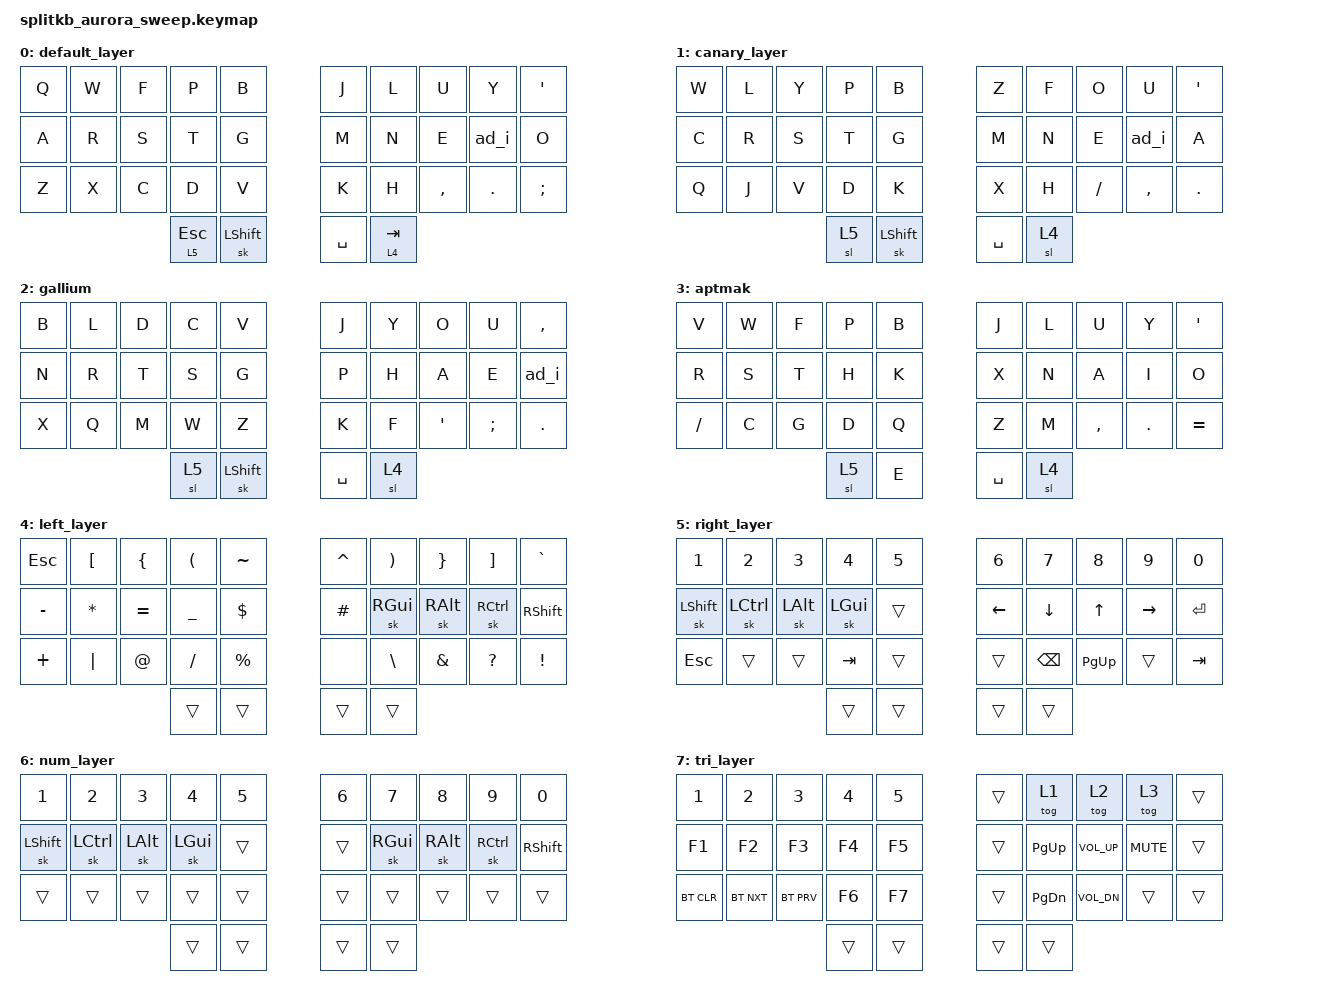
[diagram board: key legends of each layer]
/**
 * Copyright (c) 2022 The ZMK Contributors
 *
 * SPDX-License-Identifier: MIT
 */

#include <behaviors.dtsi>
#include <dt-bindings/zmk/bt.h>
#include <dt-bindings/zmk/keys.h>

&mt {
    //  flavor = "tap-preferred";
    // tapping-term-ms = <200>;
};

&sk {
    quick-release;
    release-after-ms = <700>;
};

/ {
    behaviors {
        ad_i: adaptive_i {
            compatible = "zmk,behavior-antecedent-morph";
            label = "ADAPTIVE_I";
            #binding-cells = <0>;
            defaults = <&kp I>;
            bindings = <&kp J>;
            antecedents = <I>;
            max-delay-ms = <250>;
        };

        hmrl: hmrl {
            compatible = "zmk,behavior-hold-tap";
            label = "HMRL";
            bindings = <&kp>, <&kp>;

            #binding-cells = <2>;
            tapping-term-ms = <280>;
            require-prior-idle-ms = <200>;
            flavor = "balanced";
            hold-trigger-key-positions = <5 6 7 8 15 16 17 18 25 26 27 28 32 33 8 9 18 19 28 29 30 31>;
        };

        hmrr: hmrr {
            compatible = "zmk,behavior-hold-tap";
            label = "HMRR";
            bindings = <&kp>, <&kp>;

            #binding-cells = <2>;
            tapping-term-ms = <280>;
            require-prior-idle-ms = <200>;
            flavor = "balanced";
            hold-trigger-key-positions = <0 1 2 3 4 10 11 12 13 14 20 21 22 23 24 31 30 32 33>;
        };

        hmrr_adi: hmrr_adi {
            compatible = "zmk,behavior-hold-tap";
            label = "HMRR_ADI";
            bindings = <&kp>, <&ad_i>;

            #binding-cells = <2>;
            tapping-term-ms = <280>;
            require-prior-idle-ms = <200>;
            flavor = "balanced";
            hold-trigger-key-positions = <0 1 2 3 4 10 11 12 13 14 20 21 22 23 24 31 30 32 33>;
        };

        lth: lth {
            compatible = "zmk,behavior-hold-tap";
            label = "LTH";
            bindings = <&mo>, <&kp>;

            #binding-cells = <2>;
            tapping-term-ms = <300>;
        };
    };

    combos {
        compatible = "zmk,combos";

        combo_layer_num {
            timeout-ms = <50>;
            key-positions = <30 33>;
            bindings = <&sl 6>;
            slow-release;
        };

        command {
            bindings = <&kp COLON>;
            key-positions = <28 27>;
            timeout-ms = <60>;
        };

        search {
            bindings = <&kp SLASH>;
            key-positions = <21 22>;
            timeout-ms = <60>;
        };

        escape {
            bindings = <&kp ESCAPE>;
            key-positions = <1 2>;
            timeout-ms = <60>;
        };

        return {
            bindings = <&kp RETURN>;
            key-positions = <8 7>;
            timeout-ms = <60>;
        };

        underscore {
            bindings = <&kp UNDERSCORE>;
            key-positions = <13 3>;
            timeout-ms = <60>;
        };

        minus {
            bindings = <&kp MINUS>;
            key-positions = <12 2>;
            timeout-ms = <60>;
        };

        star {
            bindings = <&kp STAR>;
            key-positions = <17 7>;
            timeout-ms = <60>;
        };

        dollar {
            bindings = <&kp DOLLAR>;
            key-positions = <16 6>;
            timeout-ms = <60>;
        };
    };

    keymap {
        compatible = "zmk,keymap";

        default_layer {
            bindings = <
&kp Q          &kp W      &kp F  &kp P  &kp B    &kp J  &kp L  &kp U      &kp Y      &kp SQT
&kp A          &kp R      &kp S  &kp T  &kp G    &kp M  &kp N  &kp E      &ad_i      &kp O
&kp Z          &kp X      &kp C  &kp D  &kp V    &kp K  &kp H  &kp COMMA  &kp DOT    &kp SEMI
&lth 5 ESCAPE  &sk LSHFT                                                  &kp SPACE  &lth 4 TAB
            >;
        };

        canary_layer {
            bindings = <
&kp W  &kp L      &kp Y  &kp P  &kp B    &kp Z  &kp F  &kp O     &kp U      &kp SQT
&kp C  &kp R      &kp S  &kp T  &kp G    &kp M  &kp N  &kp E     &ad_i      &kp A
&kp Q  &kp J      &kp V  &kp D  &kp K    &kp X  &kp H  &kp FSLH  &kp COMMA  &kp DOT
&sl 5  &sk LSHFT                                                 &kp SPACE  &sl 4
            >;
        };

        gallium {
            bindings = <
&kp B  &kp L      &kp D  &kp C  &kp V    &kp J  &kp Y  &kp O    &kp U      &kp COMMA
&kp N  &kp R      &kp T  &kp S  &kp G    &kp P  &kp H  &kp A    &kp E      &ad_i
&kp X  &kp Q      &kp M  &kp W  &kp Z    &kp K  &kp F  &kp SQT  &kp SEMI   &kp DOT
&sl 5  &sk LSHFT                                                &kp SPACE  &sl 4
            >;
        };

        aptmak {
            bindings = <
&kp V     &kp W  &kp F  &kp P  &kp B    &kp J  &kp L  &kp U      &kp Y      &kp SQT
&kp R     &kp S  &kp T  &kp H  &kp K    &kp X  &kp N  &kp A      &kp I      &kp O
&kp FSLH  &kp C  &kp G  &kp D  &kp Q    &kp Z  &kp M  &kp COMMA  &kp DOT    &kp EQUAL
&sl 5     &kp E                                                  &kp SPACE  &sl 4
            >;
        };

        left_layer {
            bindings = <
&kp ESCAPE  &kp LEFT_BRACKET  &kp LEFT_BRACE  &kp LEFT_PARENTHESIS  &kp TILDE      &kp CARET  &kp RIGHT_PARENTHESIS  &kp RIGHT_BRACE  &kp RIGHT_BRACKET  &kp GRAVE
&kp MINUS   &kp ASTERISK      &kp EQUAL       &kp UNDER             &kp DOLLAR     &kp HASH   &sk RGUI               &sk RIGHT_ALT    &sk RIGHT_CONTROL  &kp RIGHT_SHIFT
&kp PLUS    &kp PIPE          &kp AT_SIGN     &kp FSLH              &kp PERCENT    &none      &kp BSLH               &kp AMPS         &kp QUESTION       &kp EXCL
&trans      &trans                                                                                                                    &trans             &trans
            >;
        };

        right_layer {
            bindings = <
&kp N1      &kp N2     &kp N3    &kp N4    &kp N5    &kp N6    &kp N7    &kp N8     &kp N9     &kp N0
&sk LSHFT   &sk LCTRL  &sk LALT  &sk LGUI  &trans    &kp LEFT  &kp DOWN  &kp UP     &kp RIGHT  &kp RET
&kp ESCAPE  &trans     &trans    &kp TAB   &trans    &trans    &kp BSPC  &kp PG_UP  &trans     &kp TAB
&trans      &trans                                                                  &trans     &trans
            >;
        };

        num_layer {
            bindings = <
&kp N1     &kp N2     &kp N3    &kp N4    &kp N5    &kp N6  &kp N7    &kp N8         &kp N9             &kp N0
&sk LSHFT  &sk LCTRL  &sk LALT  &sk LGUI  &trans    &trans  &sk RGUI  &sk RIGHT_ALT  &sk RIGHT_CONTROL  &kp RIGHT_SHIFT
&trans     &trans     &trans    &trans    &trans    &trans  &trans    &trans         &trans             &trans
&trans     &trans                                                                    &trans             &trans
            >;
        };

        tri_layer {
            bindings = <
&kp NUM_1   &kp NUM_2   &kp NUM_3   &kp NUM_4  &kp NUM_5    &trans  &tog 1     &tog 2        &tog 3      &trans
&kp F1      &kp F2      &kp F3      &kp F4     &kp F5       &trans  &kp PG_UP  &kp K_VOL_UP  &kp K_MUTE  &trans
&bt BT_CLR  &bt BT_NXT  &bt BT_PRV  &kp F6     &kp F7       &trans  &kp PG_DN  &kp K_VOL_DN  &trans      &trans
&trans      &trans                                                                           &trans      &trans
            >;
        };
    };

    conditional_layers {
        compatible = "zmk,conditional-layers";

        menu {
            if-layers = <4 5>;
            then-layer = <7>;
        };
    };
};
